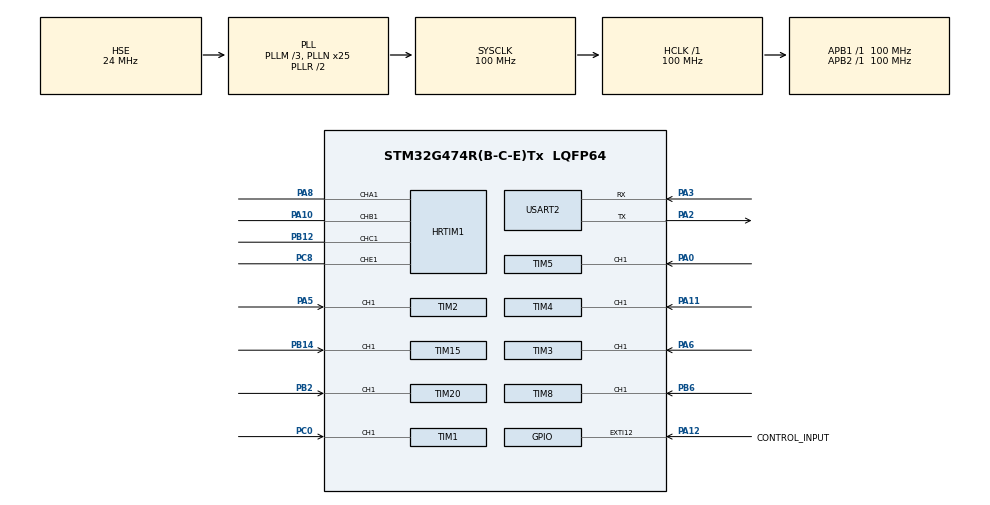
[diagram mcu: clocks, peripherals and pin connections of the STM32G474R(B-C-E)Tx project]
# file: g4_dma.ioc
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Dma.Request0=TIM1_CH1
Dma.Request1=TIM2_CH1
Dma.Request2=TIM3_CH1
Dma.Request3=TIM4_CH1
Dma.Request4=TIM5_CH1
Dma.Request5=TIM8_CH1
Dma.Request6=TIM15_CH1
Dma.Request7=TIM20_CH1
Dma.TIM15_CH1.6.Direction=DMA_PERIPH_TO_MEMORY
Dma.TIM15_CH1.6.EventEnable=DISABLE
Dma.TIM15_CH1.6.Instance=DMA2_Channel5
Dma.TIM15_CH1.6.MemDataAlignment=DMA_MDATAALIGN_WORD
Dma.TIM15_CH1.6.MemInc=DMA_MINC_ENABLE
Dma.TIM15_CH1.6.Mode=DMA_CIRCULAR
Dma.TIM15_CH1.6.PeriphDataAlignment=DMA_PDATAALIGN_HALFWORD
Dma.TIM15_CH1.6.PeriphInc=DMA_PINC_ENABLE
Dma.TIM15_CH1.6.Polarity=HAL_DMAMUX_REQ_GEN_RISING
Dma.TIM15_CH1.6.Priority=DMA_PRIORITY_HIGH
Dma.TIM15_CH1.6.RequestNumber=1
Dma.TIM15_CH1.6.SignalID=NONE
Dma.TIM15_CH1.6.SyncEnable=DISABLE
Dma.TIM15_CH1.6.SyncPolarity=HAL_DMAMUX_SYNC_NO_EVENT
Dma.TIM15_CH1.6.SyncRequestNumber=1
Dma.TIM15_CH1.6.SyncSignalID=NONE
Dma.TIM1_CH1.0.Direction=DMA_PERIPH_TO_MEMORY
Dma.TIM1_CH1.0.EventEnable=DISABLE
Dma.TIM1_CH1.0.Instance=DMA1_Channel1
Dma.TIM1_CH1.0.MemDataAlignment=DMA_MDATAALIGN_WORD
Dma.TIM1_CH1.0.MemInc=DMA_MINC_ENABLE
Dma.TIM1_CH1.0.Mode=DMA_CIRCULAR
Dma.TIM1_CH1.0.PeriphDataAlignment=DMA_PDATAALIGN_HALFWORD
Dma.TIM1_CH1.0.PeriphInc=DMA_PINC_ENABLE
Dma.TIM1_CH1.0.Polarity=HAL_DMAMUX_REQ_GEN_RISING
Dma.TIM1_CH1.0.Priority=DMA_PRIORITY_HIGH
Dma.TIM1_CH1.0.RequestNumber=1
Dma.TIM1_CH1.0.SignalID=NONE
Dma.TIM1_CH1.0.SyncEnable=DISABLE
Dma.TIM1_CH1.0.SyncPolarity=HAL_DMAMUX_SYNC_NO_EVENT
Dma.TIM1_CH1.0.SyncRequestNumber=1
Dma.TIM1_CH1.0.SyncSignalID=NONE
Dma.TIM20_CH1.7.Direction=DMA_PERIPH_TO_MEMORY
Dma.TIM20_CH1.7.EventEnable=DISABLE
Dma.TIM20_CH1.7.Instance=DMA2_Channel6
Dma.TIM20_CH1.7.MemDataAlignment=DMA_MDATAALIGN_WORD
Dma.TIM20_CH1.7.MemInc=DMA_MINC_ENABLE
Dma.TIM20_CH1.7.Mode=DMA_CIRCULAR
Dma.TIM20_CH1.7.PeriphDataAlignment=DMA_PDATAALIGN_HALFWORD
Dma.TIM20_CH1.7.PeriphInc=DMA_PINC_ENABLE
Dma.TIM20_CH1.7.Polarity=HAL_DMAMUX_REQ_GEN_RISING
Dma.TIM20_CH1.7.Priority=DMA_PRIORITY_HIGH
Dma.TIM20_CH1.7.RequestNumber=1
Dma.TIM20_CH1.7.SignalID=NONE
Dma.TIM20_CH1.7.SyncEnable=DISABLE
Dma.TIM20_CH1.7.SyncPolarity=HAL_DMAMUX_SYNC_NO_EVENT
Dma.TIM20_CH1.7.SyncRequestNumber=1
Dma.TIM20_CH1.7.SyncSignalID=NONE
Dma.TIM2_CH1.1.Direction=DMA_PERIPH_TO_MEMORY
Dma.TIM2_CH1.1.EventEnable=DISABLE
Dma.TIM2_CH1.1.Instance=DMA1_Channel2
Dma.TIM2_CH1.1.MemDataAlignment=DMA_MDATAALIGN_WORD
Dma.TIM2_CH1.1.MemInc=DMA_MINC_ENABLE
Dma.TIM2_CH1.1.Mode=DMA_CIRCULAR
Dma.TIM2_CH1.1.PeriphDataAlignment=DMA_PDATAALIGN_HALFWORD
Dma.TIM2_CH1.1.PeriphInc=DMA_PINC_ENABLE
Dma.TIM2_CH1.1.Polarity=HAL_DMAMUX_REQ_GEN_RISING
Dma.TIM2_CH1.1.Priority=DMA_PRIORITY_HIGH
Dma.TIM2_CH1.1.RequestNumber=1
Dma.TIM2_CH1.1.SignalID=NONE
Dma.TIM2_CH1.1.SyncEnable=DISABLE
Dma.TIM2_CH1.1.SyncPolarity=HAL_DMAMUX_SYNC_NO_EVENT
Dma.TIM2_CH1.1.SyncRequestNumber=1
Dma.TIM2_CH1.1.SyncSignalID=NONE
Dma.TIM3_CH1.2.Direction=DMA_PERIPH_TO_MEMORY
Dma.TIM3_CH1.2.EventEnable=DISABLE
Dma.TIM3_CH1.2.Instance=DMA1_Channel3
Dma.TIM3_CH1.2.MemDataAlignment=DMA_MDATAALIGN_WORD
Dma.TIM3_CH1.2.MemInc=DMA_MINC_ENABLE
Dma.TIM3_CH1.2.Mode=DMA_CIRCULAR
Dma.TIM3_CH1.2.PeriphDataAlignment=DMA_PDATAALIGN_HALFWORD
Dma.TIM3_CH1.2.PeriphInc=DMA_PINC_ENABLE
Dma.TIM3_CH1.2.Polarity=HAL_DMAMUX_REQ_GEN_RISING
Dma.TIM3_CH1.2.Priority=DMA_PRIORITY_HIGH
Dma.TIM3_CH1.2.RequestNumber=1
Dma.TIM3_CH1.2.SignalID=NONE
Dma.TIM3_CH1.2.SyncEnable=DISABLE
Dma.TIM3_CH1.2.SyncPolarity=HAL_DMAMUX_SYNC_NO_EVENT
Dma.TIM3_CH1.2.SyncRequestNumber=1
Dma.TIM3_CH1.2.SyncSignalID=NONE
Dma.TIM4_CH1.3.Direction=DMA_PERIPH_TO_MEMORY
Dma.TIM4_CH1.3.EventEnable=DISABLE
Dma.TIM4_CH1.3.Instance=DMA1_Channel4
Dma.TIM4_CH1.3.MemDataAlignment=DMA_MDATAALIGN_WORD
Dma.TIM4_CH1.3.MemInc=DMA_MINC_ENABLE
Dma.TIM4_CH1.3.Mode=DMA_CIRCULAR
Dma.TIM4_CH1.3.PeriphDataAlignment=DMA_PDATAALIGN_HALFWORD
Dma.TIM4_CH1.3.PeriphInc=DMA_PINC_ENABLE
Dma.TIM4_CH1.3.Polarity=HAL_DMAMUX_REQ_GEN_RISING
Dma.TIM4_CH1.3.Priority=DMA_PRIORITY_HIGH
Dma.TIM4_CH1.3.RequestNumber=1
Dma.TIM4_CH1.3.SignalID=NONE
Dma.TIM4_CH1.3.SyncEnable=DISABLE
Dma.TIM4_CH1.3.SyncPolarity=HAL_DMAMUX_SYNC_NO_EVENT
Dma.TIM4_CH1.3.SyncRequestNumber=1
Dma.TIM4_CH1.3.SyncSignalID=NONE
Dma.TIM5_CH1.4.Direction=DMA_PERIPH_TO_MEMORY
Dma.TIM5_CH1.4.EventEnable=DISABLE
Dma.TIM5_CH1.4.Instance=DMA2_Channel1
Dma.TIM5_CH1.4.MemDataAlignment=DMA_MDATAALIGN_WORD
Dma.TIM5_CH1.4.MemInc=DMA_MINC_ENABLE
Dma.TIM5_CH1.4.Mode=DMA_CIRCULAR
Dma.TIM5_CH1.4.PeriphDataAlignment=DMA_PDATAALIGN_HALFWORD
Dma.TIM5_CH1.4.PeriphInc=DMA_PINC_ENABLE
Dma.TIM5_CH1.4.Polarity=HAL_DMAMUX_REQ_GEN_RISING
Dma.TIM5_CH1.4.Priority=DMA_PRIORITY_HIGH
Dma.TIM5_CH1.4.RequestNumber=1
Dma.TIM5_CH1.4.SignalID=NONE
Dma.TIM5_CH1.4.SyncEnable=DISABLE
Dma.TIM5_CH1.4.SyncPolarity=HAL_DMAMUX_SYNC_NO_EVENT
Dma.TIM5_CH1.4.SyncRequestNumber=1
Dma.TIM5_CH1.4.SyncSignalID=NONE
Dma.TIM8_CH1.5.Direction=DMA_PERIPH_TO_MEMORY
Dma.TIM8_CH1.5.EventEnable=DISABLE
Dma.TIM8_CH1.5.Instance=DMA2_Channel2
Dma.TIM8_CH1.5.MemDataAlignment=DMA_MDATAALIGN_WORD
Dma.TIM8_CH1.5.MemInc=DMA_MINC_ENABLE
Dma.TIM8_CH1.5.Mode=DMA_CIRCULAR
Dma.TIM8_CH1.5.PeriphDataAlignment=DMA_PDATAALIGN_HALFWORD
Dma.TIM8_CH1.5.PeriphInc=DMA_PINC_ENABLE
Dma.TIM8_CH1.5.Polarity=HAL_DMAMUX_REQ_GEN_RISING
Dma.TIM8_CH1.5.Priority=DMA_PRIORITY_HIGH
Dma.TIM8_CH1.5.RequestNumber=1
Dma.TIM8_CH1.5.SignalID=NONE
Dma.TIM8_CH1.5.SyncEnable=DISABLE
Dma.TIM8_CH1.5.SyncPolarity=HAL_DMAMUX_SYNC_NO_EVENT
Dma.TIM8_CH1.5.SyncRequestNumber=1
Dma.TIM8_CH1.5.SyncSignalID=NONE
HRTIM1.BurstDMAconfig-Output_TA1=__NULL
HRTIM1.BurstMode-Output_TA1=HRTIM_TIMERBURSTMODE_MAINTAINCLOCK
HRTIM1.CompareUnit1-Output_TA1=HRTIM_COMPAREUNIT_1
HRTIM1.CompareUnit1-Output_TB1=HRTIM_COMPAREUNIT_1
HRTIM1.CompareUnit1-Output_TC1=HRTIM_COMPAREUNIT_1
HRTIM1.CompareUnit1-Output_TE1=HRTIM_COMPAREUNIT_1
HRTIM1.CompareValue1-Output_TE1=0xFFDF
HRTIM1.Enable=HRTIM_BURSTMODECTL_DISABLED
HRTIM1.Event_EEV1=__NULL
HRTIM1.NumberDMARequests_TA=0
HRTIM1.NumberDMARequests_TB=0
HRTIM1.NumberDMARequests_TC=0
HRTIM1.NumberInterruptRequests-Output_TA1=0
HRTIM1.NumberResetSource1-Output_TA1=1
HRTIM1.NumberResetSource1-Output_TB1=1
HRTIM1.NumberResetSource1-Output_TC1=1
HRTIM1.NumberResetSource1-Output_TE1=1
HRTIM1.NumberResetTrigger-Output_TA1=0
HRTIM1.NumberSetSource1-Output_TA1=1
HRTIM1.NumberSetSource1-Output_TB1=1
HRTIM1.NumberSetSource1-Output_TC1=1
HRTIM1.NumberSetSource1-Output_TE1=1
HRTIM1.NumberUpdateTrigger-Output_TA1=1
HRTIM1.NumberUpdateTrigger-Output_TB1=1
HRTIM1.NumberUpdateTrigger-Output_TC1=1
HRTIM1.NumberUpdateTrigger-Output_TE1=1
HRTIM1.PreloadEnable-Output_TA1=HRTIM_PRELOAD_ENABLED
HRTIM1.PreloadEnable-Output_TB1=HRTIM_PRELOAD_ENABLED
HRTIM1.PreloadEnable-Output_TC1=HRTIM_PRELOAD_ENABLED
HRTIM1.PreloadEnable-Output_TE1=HRTIM_PRELOAD_ENABLED
HRTIM1.PrescalerRatio_TA=HRTIM_PRESCALERRATIO_DIV1
HRTIM1.PrescalerRatio_TB=HRTIM_PRESCALERRATIO_DIV1
HRTIM1.PrescalerRatio_TC=HRTIM_PRESCALERRATIO_DIV1
HRTIM1.PrescalerRatio_TE=HRTIM_PRESCALERRATIO_DIV1
HRTIM1.ReSyncUpdate-Output_TA1=HRTIM_TIMERESYNC_UPDATE_CONDITIONAL
HRTIM1.ReSyncUpdate-Output_TB1=HRTIM_TIMERESYNC_UPDATE_CONDITIONAL
HRTIM1.ReSyncUpdate-Output_TC1=HRTIM_TIMERESYNC_UPDATE_CONDITIONAL
HRTIM1.ReSyncUpdate-Output_TE1=HRTIM_TIMERESYNC_UPDATE_CONDITIONAL
HRTIM1.RepetitionUpdate-Output_TA1=HRTIM_UPDATEONREPETITION_ENABLED
HRTIM1.RepetitionUpdate-Output_TB1=HRTIM_UPDATEONREPETITION_ENABLED
HRTIM1.RepetitionUpdate-Output_TC1=HRTIM_UPDATEONREPETITION_ENABLED
HRTIM1.RepetitionUpdate-Output_TE1=HRTIM_UPDATEONREPETITION_ENABLED
HRTIM1.ResetOutput1_Source1-Output_TA1=HRTIM_OUTPUTRESET_TIMCMP1
HRTIM1.ResetOutput1_Source1-Output_TB1=HRTIM_OUTPUTRESET_TIMCMP1
HRTIM1.ResetOutput1_Source1-Output_TC1=HRTIM_OUTPUTRESET_TIMCMP1
HRTIM1.ResetOutput1_Source1-Output_TE1=HRTIM_OUTPUTRESET_TIMCMP1
HRTIM1.ResetUpdate-Output_TA1=HRTIM_TIMUPDATEONRESET_ENABLED
HRTIM1.ResetUpdate-Output_TB1=HRTIM_TIMUPDATEONRESET_ENABLED
HRTIM1.ResetUpdate-Output_TC1=HRTIM_TIMUPDATEONRESET_ENABLED
HRTIM1.ResetUpdate-Output_TE1=HRTIM_TIMUPDATEONRESET_ENABLED
HRTIM1.SetOutput1_Source1-Output_TA1=HRTIM_OUTPUTSET_TIMPER
HRTIM1.SetOutput1_Source1-Output_TB1=HRTIM_OUTPUTSET_TIMPER
HRTIM1.SetOutput1_Source1-Output_TC1=HRTIM_OUTPUTSET_TIMPER
HRTIM1.SetOutput1_Source1-Output_TE1=HRTIM_OUTPUTSET_TIMPER
HRTIM1.UpdateGating-Output_TA1=HRTIM_UPDATEGATING_INDEPENDENT
HRTIM1.UpdateGating-Output_TB1=HRTIM_UPDATEGATING_INDEPENDENT
HRTIM1.UpdateGating-Output_TC1=HRTIM_UPDATEGATING_INDEPENDENT
HRTIM1.UpdateGating-Output_TE1=HRTIM_UPDATEGATING_INDEPENDENT
HRTIM1.UpdateTrigger1-Output_TA1=HRTIM_TIMUPDATETRIGGER_TIMER_A
HRTIM1.UpdateTrigger1-Output_TB1=HRTIM_TIMUPDATETRIGGER_NONE
HRTIM1.UpdateTrigger1-Output_TC1=HRTIM_TIMUPDATETRIGGER_NONE
HRTIM1.UpdateTrigger1-Output_TE1=HRTIM_TIMUPDATETRIGGER_NONE
Mcu.Family=STM32G4
Mcu.Name=STM32G474R(B-C-E)Tx
Mcu.Package=LQFP64
NVIC.DMA1_Channel1_IRQn=true\:0\:0\:false\:false\:true\:false\:true\:true
NVIC.DMA1_Channel2_IRQn=true\:0\:0\:false\:false\:true\:false\:true\:true
NVIC.DMA1_Channel3_IRQn=true\:0\:0\:false\:false\:true\:false\:true\:true
NVIC.DMA1_Channel4_IRQn=true\:0\:0\:false\:false\:true\:false\:true\:true
NVIC.DMA2_Channel1_IRQn=true\:0\:0\:false\:false\:true\:false\:true\:true
NVIC.DMA2_Channel2_IRQn=true\:0\:0\:false\:false\:true\:false\:true\:true
NVIC.DMA2_Channel5_IRQn=true\:0\:0\:false\:false\:true\:false\:true\:true
NVIC.DMA2_Channel6_IRQn=true\:0\:0\:false\:false\:true\:false\:true\:true
NVIC.PriorityGroup=NVIC_PRIORITYGROUP_4
NVIC.TIM1_BRK_TIM15_IRQn=true\:0\:0\:false\:false\:true\:true\:true\:true
NVIC.TIM20_BRK_IRQn=true\:0\:0\:false\:false\:true\:true\:true\:true
NVIC.TIM2_IRQn=true\:0\:0\:false\:false\:true\:true\:true\:true
NVIC.TIM3_IRQn=true\:0\:0\:false\:false\:true\:true\:true\:true
NVIC.TIM4_IRQn=true\:0\:0\:false\:false\:true\:true\:true\:true
NVIC.TIM5_IRQn=true\:0\:0\:false\:false\:true\:true\:true\:true
NVIC.TIM8_BRK_IRQn=true\:0\:0\:false\:false\:true\:true\:true\:true
NVIC.USART2_IRQn=true\:0\:0\:false\:false\:true\:true\:true\:true
PA0.Signal=S_TIM5_CH1
PA10.Mode=Output_TB1
PA10.Signal=HRTIM1_CHB1
PA11.Signal=S_TIM4_CH1
PA12.GPIO_Label=CONTROL_INPUT
PA12.Signal=GPXTI12
PA2.Mode=Asynchronous
PA2.Signal=USART2_TX
PA3.Mode=Asynchronous
PA3.Signal=USART2_RX
PA5.Signal=S_TIM2_CH1
PA6.Signal=S_TIM3_CH1
PA8.Mode=Output_TA1
PA8.Signal=HRTIM1_CHA1
PB12.Mode=Output_TC1
PB12.Signal=HRTIM1_CHC1
PB14.Signal=S_TIM15_CH1
PB2.Signal=S_TIM20_CH1
PB6.Signal=S_TIM8_CH1
PC0.Signal=S_TIM1_CH1
PC8.Mode=Output_TE1
PC8.Signal=HRTIM1_CHE1
PF0-OSC_IN.Mode=HSE-External-Oscillator
PF0-OSC_IN.Signal=RCC_OSC_IN
PF1-OSC_OUT.Mode=HSE-External-Oscillator
PF1-OSC_OUT.Signal=RCC_OSC_OUT
ProjectManager.HeapSize=0x200
ProjectManager.StackSize=0x400
ProjectManager.TargetToolchain=STM32CubeIDE
RCC.ADC12Freq_Value=100000000
RCC.ADC345Freq_Value=100000000
RCC.AHBFreq_Value=100000000
RCC.APB1Freq_Value=100000000
RCC.APB1TimFreq_Value=100000000
RCC.APB2Freq_Value=100000000
RCC.APB2TimFreq_Value=100000000
RCC.CortexFreq_Value=100000000
RCC.EXTERNAL_CLOCK_VALUE=12288000
RCC.HCLKFreq_Value=100000000
RCC.HSE_VALUE=24000000
RCC.HSI48_VALUE=48000000
RCC.HSI_VALUE=16000000
RCC.LSE_VALUE=32768
RCC.PLLM=RCC_PLLM_DIV3
RCC.PLLN=25
RCC.PLLSourceVirtual=RCC_PLLSOURCE_HSE
RCC.RTCClockSelection=RCC_RTCCLKSOURCE_LSE
RCC.SYSCLKFreq_VALUE=100000000
RCC.SYSCLKSource=RCC_SYSCLKSOURCE_PLLCLK
RCC.USBFreq_Value=100000000
RCC.VCOOutputFreq_Value=200000000
SH.S_TIM15_CH1.0=TIM15_CH1,PWM_Input_1
SH.S_TIM1_CH1.0=TIM1_CH1,PWM_Input_1
SH.S_TIM20_CH1.0=TIM20_CH1,PWM_Input_1
SH.S_TIM2_CH1.0=TIM2_CH1,PWM_Input_1
SH.S_TIM3_CH1.0=TIM3_CH1,PWM_Input_1
SH.S_TIM4_CH1.0=TIM4_CH1,PWM_Input_1
SH.S_TIM5_CH1.0=TIM5_CH1,PWM_Input_1
SH.S_TIM8_CH1.0=TIM8_CH1,PWM_Input_1
TIM1.AutoReloadPreload=TIM_AUTORELOAD_PRELOAD_ENABLE
TIM1.Prescaler=0
TIM1.TIM_MasterOutputTrigger=TIM_TRGO_RESET
TIM1.TIM_MasterOutputTrigger2=TIM_TRGO2_RESET
TIM1.TIM_MasterSlaveMode=TIM_MASTERSLAVEMODE_DISABLE
TIM15.AutoReloadPreload=TIM_AUTORELOAD_PRELOAD_ENABLE
TIM15.Prescaler=0
TIM2.AutoReloadPreload=TIM_AUTORELOAD_PRELOAD_ENABLE
TIM2.ICFilter_1=0
TIM2.ICFilter_2=0
TIM2.Prescaler=0
TIM20.AutoReloadPreload=TIM_AUTORELOAD_PRELOAD_ENABLE
TIM20.Prescaler=0
TIM3.AutoReloadPreload=TIM_AUTORELOAD_PRELOAD_ENABLE
TIM3.Prescaler=0
TIM4.AutoReloadPreload=TIM_AUTORELOAD_PRELOAD_ENABLE
TIM4.Prescaler=0
TIM5.AutoReloadPreload=TIM_AUTORELOAD_PRELOAD_ENABLE
TIM5.Prescaler=0
TIM8.AutoReloadPreload=TIM_AUTORELOAD_PRELOAD_ENABLE
TIM8.Prescaler=0
USART2.FIFOMode=FIFOMODE_ENABLE
USART2.Parity=PARITY_NONE
USART2.VirtualMode-Asynchronous=VM_ASYNC
USART2.WordLength=WORDLENGTH_8B
VP_SYS_VS_DBSignals.Mode=DisableDeadBatterySignals
VP_TIM15_VS_ClockSourceINT.Mode=Internal
VP_TIM1_VS_ClockSourceINT.Mode=Internal
VP_TIM20_VS_ClockSourceINT.Mode=Internal
VP_TIM2_VS_ClockSourceINT.Mode=Internal
VP_TIM3_VS_ClockSourceINT.Mode=Internal
VP_TIM4_VS_ClockSourceINT.Mode=Internal
VP_TIM5_VS_ClockSourceINT.Mode=Internal
VP_TIM8_VS_ClockSourceINT.Mode=Internal
board=NUCLEO-G474RE

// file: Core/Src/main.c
/* USER CODE BEGIN Header */
/**
  ******************************************************************************
  * @file           : main.c
  * @brief          : Main program body
  ******************************************************************************
  * @attention
  *
  * Copyright (c) 2025 STMicroelectronics.
  * All rights reserved.
  *
  * This software is licensed under terms that can be found in the LICENSE file
  * in the root directory of this software component.
  * If no LICENSE file comes with this software, it is provided AS-IS.
  *
  ******************************************************************************
  */
/* USER CODE END Header */
#include "main.h"

/* USER CODE BEGIN PD */

#define HRTIMA_PER_ADDR (&HRTIM1->sTimerxRegs[HRTIM_TIMERINDEX_TIMER_A].PERxR)
#define HRTIMA_CMP1_ADDR (&HRTIM1->sTimerxRegs[HRTIM_TIMERINDEX_TIMER_A].CMP1xR)

#define HRTIMB_PER_ADDR (&HRTIM1->sTimerxRegs[HRTIM_TIMERINDEX_TIMER_B].PERxR)
#define HRTIMB_CMP1_ADDR (&HRTIM1->sTimerxRegs[HRTIM_TIMERINDEX_TIMER_B].CMP1xR)

#define HRTIMC_PER_ADDR (&HRTIM1->sTimerxRegs[HRTIM_TIMERINDEX_TIMER_C].PERxR)
#define HRTIMC_CMP1_ADDR (&HRTIM1->sTimerxRegs[HRTIM_TIMERINDEX_TIMER_C].CMP1xR)

#define HRTIME_PER_ADDR (&HRTIM1->sTimerxRegs[HRTIM_TIMERINDEX_TIMER_E].PERxR)
#define HRTIME_CMP1_ADDR (&HRTIM1->sTimerxRegs[HRTIM_TIMERINDEX_TIMER_E].CMP1xR)
/* USER CODE END PD */

HRTIM_HandleTypeDef hhrtim1;

TIM_HandleTypeDef htim1;
TIM_HandleTypeDef htim2;
TIM_HandleTypeDef htim3;
TIM_HandleTypeDef htim4;
TIM_HandleTypeDef htim5;
TIM_HandleTypeDef htim8;
TIM_HandleTypeDef htim15;
TIM_HandleTypeDef htim20;
DMA_HandleTypeDef hdma_tim1_ch1;
DMA_HandleTypeDef hdma_tim2_ch1;
DMA_HandleTypeDef hdma_tim3_ch1;
DMA_HandleTypeDef hdma_tim4_ch1;
DMA_HandleTypeDef hdma_tim5_ch1;
DMA_HandleTypeDef hdma_tim8_ch1;
DMA_HandleTypeDef hdma_tim15_ch1;
DMA_HandleTypeDef hdma_tim20_ch1;

UART_HandleTypeDef huart2;

void SystemClock_Config(void);
static void MX_GPIO_Init(void);
static void MX_DMA_Init(void);
static void MX_TIM1_Init(void);
static void MX_TIM2_Init(void);
static void MX_TIM3_Init(void);
static void MX_TIM4_Init(void);
static void MX_TIM5_Init(void);
static void MX_TIM8_Init(void);
static void MX_TIM15_Init(void);
static void MX_TIM20_Init(void);
static void MX_USART2_UART_Init(void);
static void MX_HRTIM1_Init(void);

/* USER CODE BEGIN 0 */

uint8_t control_var = 0;
void HAL_GPIO_EXTI_Callback(uint16_t GPIO_Pin)
{
	if(GPIO_Pin == CONTROL_INPUT_Pin)
	{
		if (control_var)
		{
			HAL_TIM_IC_Stop_DMA(&htim2, TIM_CHANNEL_1);
			HAL_TIM_IC_Stop(&htim2, TIM_CHANNEL_2);

			HAL_TIM_IC_Stop_DMA(&htim4, TIM_CHANNEL_1);
			HAL_TIM_IC_Stop(&htim4, TIM_CHANNEL_2);

			HAL_TIM_IC_Stop_DMA(&htim8, TIM_CHANNEL_1);
			HAL_TIM_IC_Stop(&htim8, TIM_CHANNEL_2);

			HAL_TIM_IC_Stop_DMA(&htim20, TIM_CHANNEL_1);
			HAL_TIM_IC_Stop(&htim20, TIM_CHANNEL_2);

			HAL_TIM_IC_Start_DMA(&htim1, TIM_CHANNEL_1, &HRTIM1->sTimerxRegs[HRTIM_TIMERINDEX_TIMER_A].PERxR, 3);
			HAL_TIM_IC_Start(&htim1, TIM_CHANNEL_2);

			HAL_TIM_IC_Start_DMA(&htim3, TIM_CHANNEL_1, &HRTIM1->sTimerxRegs[HRTIM_TIMERINDEX_TIMER_B].PERxR, 3);
			HAL_TIM_IC_Start(&htim3, TIM_CHANNEL_2);

			HAL_TIM_IC_Start_DMA(&htim5, TIM_CHANNEL_1, &HRTIM1->sTimerxRegs[HRTIM_TIMERINDEX_TIMER_C].PERxR, 3);
			HAL_TIM_IC_Start(&htim5, TIM_CHANNEL_2);

			HAL_TIM_IC_Start_DMA(&htim15, TIM_CHANNEL_1, &HRTIM1->sTimerxRegs[HRTIM_TIMERINDEX_TIMER_D].PERxR, 3);
			HAL_TIM_IC_Start(&htim15, TIM_CHANNEL_2);
		}
		else
		{
			HAL_TIM_IC_Stop_DMA(&htim1, TIM_CHANNEL_1);
			HAL_TIM_IC_Stop(&htim1, TIM_CHANNEL_2);

			HAL_TIM_IC_Stop_DMA(&htim3, TIM_CHANNEL_1);
			HAL_TIM_IC_Stop(&htim3, TIM_CHANNEL_2);

			HAL_TIM_IC_Stop_DMA(&htim5, TIM_CHANNEL_1);
			HAL_TIM_IC_Stop(&htim5, TIM_CHANNEL_2);

			HAL_TIM_IC_Stop_DMA(&htim15, TIM_CHANNEL_1);
			HAL_TIM_IC_Stop(&htim15, TIM_CHANNEL_2);

			HAL_TIM_IC_Start_DMA(&htim2, TIM_CHANNEL_1, &HRTIM1->sTimerxRegs[HRTIM_TIMERINDEX_TIMER_A].PERxR, 3);
			HAL_TIM_IC_Start(&htim2, TIM_CHANNEL_2);

			HAL_TIM_IC_Start_DMA(&htim4, TIM_CHANNEL_1, &HRTIM1->sTimerxRegs[HRTIM_TIMERINDEX_TIMER_B].PERxR, 3);
			HAL_TIM_IC_Start(&htim4, TIM_CHANNEL_2);

			HAL_TIM_IC_Start_DMA(&htim8, TIM_CHANNEL_1, &HRTIM1->sTimerxRegs[HRTIM_TIMERINDEX_TIMER_C].PERxR, 3);
			HAL_TIM_IC_Start(&htim8, TIM_CHANNEL_2);

			HAL_TIM_IC_Start_DMA(&htim20, TIM_CHANNEL_1, &HRTIM1->sTimerxRegs[HRTIM_TIMERINDEX_TIMER_D].PERxR, 3);
			HAL_TIM_IC_Start(&htim20, TIM_CHANNEL_2);
		}
	}
	control_var ^= 1;
}

/* USER CODE END 0 */

int main(void)
{

  /* MCU Configuration--------------------------------------------------------*/

  /* Reset of all peripherals, Initializes the Flash interface and the Systick. */
  HAL_Init();

  /* Configure the system clock */
  SystemClock_Config();

  /* Initialize all configured peripherals */
  MX_GPIO_Init();
  MX_DMA_Init();
  MX_TIM1_Init();
  MX_TIM2_Init();
  MX_TIM3_Init();
  MX_TIM4_Init();
  MX_TIM5_Init();
  MX_TIM8_Init();
  MX_TIM15_Init();
  MX_TIM20_Init();
  MX_USART2_UART_Init();
  MX_HRTIM1_Init();
  /* USER CODE BEGIN 2 */

//	Test 3: Input/Output only using DMA.
	HAL_TIM_IC_Start_DMA(&htim1, TIM_CHANNEL_1, HRTIMA_PER_ADDR, 3);
	HAL_TIM_IC_Start(&htim1, TIM_CHANNEL_2);

	HAL_TIM_IC_Start_DMA(&htim3, TIM_CHANNEL_1, HRTIMB_PER_ADDR, 3);
	HAL_TIM_IC_Start(&htim3, TIM_CHANNEL_2);

	HAL_TIM_IC_Start_DMA(&htim5, TIM_CHANNEL_1, HRTIMC_PER_ADDR, 3);
	HAL_TIM_IC_Start(&htim5, TIM_CHANNEL_2);

	HAL_TIM_IC_Start_DMA(&htim15, TIM_CHANNEL_1, HRTIME_PER_ADDR, 3);
	HAL_TIM_IC_Start(&htim15, TIM_CHANNEL_2);

//	HAL_TIM_IC_Start_DMA(&htim2, TIM_CHANNEL_1, HRTIMA_PER_ADDR, 3);
//	HAL_TIM_IC_Start(&htim2, TIM_CHANNEL_2);
//
//	HAL_TIM_IC_Start_DMA(&htim4, TIM_CHANNEL_1, HRTIMB_PER_ADDR, 3);
//	HAL_TIM_IC_Start(&htim4, TIM_CHANNEL_2);
//
//	HAL_TIM_IC_Start_DMA(&htim8, TIM_CHANNEL_1, HRTIMC_PER_ADDR, 3);
//	HAL_TIM_IC_Start(&htim8, TIM_CHANNEL_2);
//
//	HAL_TIM_IC_Start_DMA(&htim20, TIM_CHANNEL_1, HRTIME_PER_ADDR, 3);
//	HAL_TIM_IC_Start(&htim20, TIM_CHANNEL_2);

	HAL_HRTIM_WaveformOutputStart(&hhrtim1, HRTIM_OUTPUT_TA1);
	HAL_HRTIM_WaveformCounterStart(&hhrtim1, HRTIM_TIMERID_TIMER_A);

	HAL_HRTIM_WaveformOutputStart(&hhrtim1, HRTIM_OUTPUT_TB1);
	HAL_HRTIM_WaveformCounterStart(&hhrtim1, HRTIM_TIMERID_TIMER_B);

	HAL_HRTIM_WaveformOutputStart(&hhrtim1, HRTIM_OUTPUT_TC1);
	HAL_HRTIM_WaveformCounterStart(&hhrtim1, HRTIM_TIMERID_TIMER_C);

	HAL_HRTIM_WaveformOutputStart(&hhrtim1, HRTIM_OUTPUT_TE1);
	HAL_HRTIM_WaveformCounterStart(&hhrtim1, HRTIM_TIMERID_TIMER_E);

  /* USER CODE END 2 */

  /* Infinite loop */
  while (1)
  {
  }

}

void SystemClock_Config(void)
{
  RCC_OscInitTypeDef RCC_OscInitStruct = {0};
  RCC_ClkInitTypeDef RCC_ClkInitStruct = {0};

  /** Configure the main internal regulator output voltage
  */
  HAL_PWREx_ControlVoltageScaling(PWR_REGULATOR_VOLTAGE_SCALE1);

  /** Initializes the RCC Oscillators according to the specified parameters
  * in the RCC_OscInitTypeDef structure.
  */
  RCC_OscInitStruct.OscillatorType = RCC_OSCILLATORTYPE_HSE;
  RCC_OscInitStruct.HSEState = RCC_HSE_ON;
  RCC_OscInitStruct.PLL.PLLState = RCC_PLL_ON;
  RCC_OscInitStruct.PLL.PLLSource = RCC_PLLSOURCE_HSE;
  RCC_OscInitStruct.PLL.PLLM = RCC_PLLM_DIV3;
  RCC_OscInitStruct.PLL.PLLN = 25;
  RCC_OscInitStruct.PLL.PLLP = RCC_PLLP_DIV2;
  RCC_OscInitStruct.PLL.PLLQ = RCC_PLLQ_DIV2;
  RCC_OscInitStruct.PLL.PLLR = RCC_PLLR_DIV2;
  if (HAL_RCC_OscConfig(&RCC_OscInitStruct) != HAL_OK)
  {
    Error_Handler();
  }

  /** Initializes the CPU, AHB and APB buses clocks
  */
  RCC_ClkInitStruct.ClockType = RCC_CLOCKTYPE_HCLK|RCC_CLOCKTYPE_SYSCLK
                              |RCC_CLOCKTYPE_PCLK1|RCC_CLOCKTYPE_PCLK2;
  RCC_ClkInitStruct.SYSCLKSource = RCC_SYSCLKSOURCE_PLLCLK;
  RCC_ClkInitStruct.AHBCLKDivider = RCC_SYSCLK_DIV1;
  RCC_ClkInitStruct.APB1CLKDivider = RCC_HCLK_DIV1;
  RCC_ClkInitStruct.APB2CLKDivider = RCC_HCLK_DIV1;

  if (HAL_RCC_ClockConfig(&RCC_ClkInitStruct, FLASH_LATENCY_3) != HAL_OK)
  {
    Error_Handler();
  }
}

static void MX_HRTIM1_Init(void)
{

  HRTIM_TimeBaseCfgTypeDef pTimeBaseCfg = {0};
  HRTIM_TimerCtlTypeDef pTimerCtl = {0};
  HRTIM_TimerCfgTypeDef pTimerCfg = {0};
  HRTIM_CompareCfgTypeDef pCompareCfg = {0};
  HRTIM_OutputCfgTypeDef pOutputCfg = {0};

  hhrtim1.Instance = HRTIM1;
  hhrtim1.Init.HRTIMInterruptResquests = HRTIM_IT_NONE;
  hhrtim1.Init.SyncOptions = HRTIM_SYNCOPTION_NONE;
  if (HAL_HRTIM_Init(&hhrtim1) != HAL_OK)
  {
    Error_Handler();
  }
  if (HAL_HRTIM_DLLCalibrationStart(&hhrtim1, HRTIM_CALIBRATIONRATE_3) != HAL_OK)
  {
    Error_Handler();
  }
  if (HAL_HRTIM_PollForDLLCalibration(&hhrtim1, 10) != HAL_OK)
  {
    Error_Handler();
  }
  pTimeBaseCfg.Period = 0xFFFD;
  pTimeBaseCfg.RepetitionCounter = 0x00;
  pTimeBaseCfg.PrescalerRatio = HRTIM_PRESCALERRATIO_DIV1;
  pTimeBaseCfg.Mode = HRTIM_MODE_CONTINUOUS;
  if (HAL_HRTIM_TimeBaseConfig(&hhrtim1, HRTIM_TIMERINDEX_TIMER_A, &pTimeBaseCfg) != HAL_OK)
  {
    Error_Handler();
  }
  pTimerCtl.UpDownMode = HRTIM_TIMERUPDOWNMODE_UP;
  pTimerCtl.GreaterCMP1 = HRTIM_TIMERGTCMP1_EQUAL;
  pTimerCtl.DualChannelDacEnable = HRTIM_TIMER_DCDE_DISABLED;
  if (HAL_HRTIM_WaveformTimerControl(&hhrtim1, HRTIM_TIMERINDEX_TIMER_A, &pTimerCtl) != HAL_OK)
  {
    Error_Handler();
  }
  pTimerCfg.InterruptRequests = HRTIM_TIM_IT_NONE;
  pTimerCfg.DMARequests = HRTIM_TIM_DMA_NONE;
  pTimerCfg.DMASrcAddress = 0x0000;
  pTimerCfg.DMADstAddress = 0x0000;
  pTimerCfg.DMASize = 0x1;
  pTimerCfg.HalfModeEnable = HRTIM_HALFMODE_DISABLED;
  pTimerCfg.InterleavedMode = HRTIM_INTERLEAVED_MODE_DISABLED;
  pTimerCfg.StartOnSync = HRTIM_SYNCSTART_DISABLED;
  pTimerCfg.ResetOnSync = HRTIM_SYNCRESET_DISABLED;
  pTimerCfg.DACSynchro = HRTIM_DACSYNC_NONE;
  pTimerCfg.PreloadEnable = HRTIM_PRELOAD_ENABLED;
  pTimerCfg.UpdateGating = HRTIM_UPDATEGATING_INDEPENDENT;
  pTimerCfg.BurstMode = HRTIM_TIMERBURSTMODE_MAINTAINCLOCK;
  pTimerCfg.RepetitionUpdate = HRTIM_UPDATEONREPETITION_ENABLED;
  pTimerCfg.PushPull = HRTIM_TIMPUSHPULLMODE_DISABLED;
  pTimerCfg.FaultEnable = HRTIM_TIMFAULTENABLE_NONE;
  pTimerCfg.FaultLock = HRTIM_TIMFAULTLOCK_READWRITE;
  pTimerCfg.DeadTimeInsertion = HRTIM_TIMDEADTIMEINSERTION_DISABLED;
  pTimerCfg.DelayedProtectionMode = HRTIM_TIMER_A_B_C_DELAYEDPROTECTION_DISABLED;
  pTimerCfg.UpdateTrigger = HRTIM_TIMUPDATETRIGGER_TIMER_A;
  pTimerCfg.ResetTrigger = HRTIM_TIMRESETTRIGGER_NONE;
  pTimerCfg.ResetUpdate = HRTIM_TIMUPDATEONRESET_ENABLED;
  pTimerCfg.ReSyncUpdate = HRTIM_TIMERESYNC_UPDATE_CONDITIONAL;
  if (HAL_HRTIM_WaveformTimerConfig(&hhrtim1, HRTIM_TIMERINDEX_TIMER_A, &pTimerCfg) != HAL_OK)
  {
    Error_Handler();
  }
  pTimerCfg.UpdateTrigger = HRTIM_TIMUPDATETRIGGER_NONE;
  if (HAL_HRTIM_WaveformTimerConfig(&hhrtim1, HRTIM_TIMERINDEX_TIMER_B, &pTimerCfg) != HAL_OK)
  {
    Error_Handler();
  }
  if (HAL_HRTIM_WaveformTimerConfig(&hhrtim1, HRTIM_TIMERINDEX_TIMER_C, &pTimerCfg) != HAL_OK)
  {
    Error_Handler();
  }
  pTimerCfg.DelayedProtectionMode = HRTIM_TIMER_D_E_DELAYEDPROTECTION_DISABLED;
  if (HAL_HRTIM_WaveformTimerConfig(&hhrtim1, HRTIM_TIMERINDEX_TIMER_E, &pTimerCfg) != HAL_OK)
  {
    Error_Handler();
  }
  pCompareCfg.CompareValue = 0xFFFD;
  if (HAL_HRTIM_WaveformCompareConfig(&hhrtim1, HRTIM_TIMERINDEX_TIMER_A, HRTIM_COMPAREUNIT_1, &pCompareCfg) != HAL_OK)
  {
    Error_Handler();
  }
  pOutputCfg.Polarity = HRTIM_OUTPUTPOLARITY_HIGH;
  pOutputCfg.SetSource = HRTIM_OUTPUTSET_TIMPER;
  pOutputCfg.ResetSource = HRTIM_OUTPUTRESET_TIMCMP1;
  pOutputCfg.IdleMode = HRTIM_OUTPUTIDLEMODE_NONE;
  pOutputCfg.IdleLevel = HRTIM_OUTPUTIDLELEVEL_INACTIVE;
  pOutputCfg.FaultLevel = HRTIM_OUTPUTFAULTLEVEL_NONE;
  pOutputCfg.ChopperModeEnable = HRTIM_OUTPUTCHOPPERMODE_DISABLED;
  pOutputCfg.BurstModeEntryDelayed = HRTIM_OUTPUTBURSTMODEENTRY_REGULAR;
  if (HAL_HRTIM_WaveformOutputConfig(&hhrtim1, HRTIM_TIMERINDEX_TIMER_A, HRTIM_OUTPUT_TA1, &pOutputCfg) != HAL_OK)
  {
    Error_Handler();
  }
  if (HAL_HRTIM_WaveformOutputConfig(&hhrtim1, HRTIM_TIMERINDEX_TIMER_B, HRTIM_OUTPUT_TB1, &pOutputCfg) != HAL_OK)
  {
    Error_Handler();
  }
  if (HAL_HRTIM_WaveformOutputConfig(&hhrtim1, HRTIM_TIMERINDEX_TIMER_C, HRTIM_OUTPUT_TC1, &pOutputCfg) != HAL_OK)
  {
    Error_Handler();
  }
  if (HAL_HRTIM_WaveformOutputConfig(&hhrtim1, HRTIM_TIMERINDEX_TIMER_E, HRTIM_OUTPUT_TE1, &pOutputCfg) != HAL_OK)
  {
    Error_Handler();
  }
  if (HAL_HRTIM_TimeBaseConfig(&hhrtim1, HRTIM_TIMERINDEX_TIMER_B, &pTimeBaseCfg) != HAL_OK)
  {
    Error_Handler();
  }
  if (HAL_HRTIM_WaveformTimerControl(&hhrtim1, HRTIM_TIMERINDEX_TIMER_B, &pTimerCtl) != HAL_OK)
  {
    Error_Handler();
  }
  if (HAL_HRTIM_WaveformCompareConfig(&hhrtim1, HRTIM_TIMERINDEX_TIMER_B, HRTIM_COMPAREUNIT_1, &pCompareCfg) != HAL_OK)
  {
    Error_Handler();
  }
  if (HAL_HRTIM_TimeBaseConfig(&hhrtim1, HRTIM_TIMERINDEX_TIMER_C, &pTimeBaseCfg) != HAL_OK)
  {
    Error_Handler();
  }
  if (HAL_HRTIM_WaveformTimerControl(&hhrtim1, HRTIM_TIMERINDEX_TIMER_C, &pTimerCtl) != HAL_OK)
  {
    Error_Handler();
  }
  if (HAL_HRTIM_WaveformCompareConfig(&hhrtim1, HRTIM_TIMERINDEX_TIMER_C, HRTIM_COMPAREUNIT_1, &pCompareCfg) != HAL_OK)
  {
    Error_Handler();
  }
  if (HAL_HRTIM_TimeBaseConfig(&hhrtim1, HRTIM_TIMERINDEX_TIMER_E, &pTimeBaseCfg) != HAL_OK)
  {
    Error_Handler();
  }
  if (HAL_HRTIM_WaveformTimerControl(&hhrtim1, HRTIM_TIMERINDEX_TIMER_E, &pTimerCtl) != HAL_OK)
  {
    Error_Handler();
  }
  pCompareCfg.CompareValue = 0xFFDF;
  if (HAL_HRTIM_WaveformCompareConfig(&hhrtim1, HRTIM_TIMERINDEX_TIMER_E, HRTIM_COMPAREUNIT_1, &pCompareCfg) != HAL_OK)
  {
    Error_Handler();
  }
  HAL_HRTIM_MspPostInit(&hhrtim1);

}

static void MX_TIM1_Init(void)
{

  TIM_ClockConfigTypeDef sClockSourceConfig = {0};
  TIM_SlaveConfigTypeDef sSlaveConfig = {0};
  TIM_IC_InitTypeDef sConfigIC = {0};
  TIM_MasterConfigTypeDef sMasterConfig = {0};

  htim1.Instance = TIM1;
  htim1.Init.Prescaler = 0;
  htim1.Init.CounterMode = TIM_COUNTERMODE_UP;
  htim1.Init.Period = 65535;
  htim1.Init.ClockDivision = TIM_CLOCKDIVISION_DIV1;
  htim1.Init.RepetitionCounter = 0;
  htim1.Init.AutoReloadPreload = TIM_AUTORELOAD_PRELOAD_ENABLE;
  if (HAL_TIM_Base_Init(&htim1) != HAL_OK)
  {
    Error_Handler();
  }
  sClockSourceConfig.ClockSource = TIM_CLOCKSOURCE_INTERNAL;
  if (HAL_TIM_ConfigClockSource(&htim1, &sClockSourceConfig) != HAL_OK)
  {
    Error_Handler();
  }
  if (HAL_TIM_IC_Init(&htim1) != HAL_OK)
  {
    Error_Handler();
  }
  sSlaveConfig.SlaveMode = TIM_SLAVEMODE_RESET;
  sSlaveConfig.InputTrigger = TIM_TS_TI1FP1;
  sSlaveConfig.TriggerPolarity = TIM_INPUTCHANNELPOLARITY_RISING;
  sSlaveConfig.TriggerPrescaler = TIM_ICPSC_DIV1;
  sSlaveConfig.TriggerFilter = 0;
  if (HAL_TIM_SlaveConfigSynchro(&htim1, &sSlaveConfig) != HAL_OK)
  {
    Error_Handler();
  }
  sConfigIC.ICPolarity = TIM_INPUTCHANNELPOLARITY_RISING;
  sConfigIC.ICSelection = TIM_ICSELECTION_DIRECTTI;
  sConfigIC.ICPrescaler = TIM_ICPSC_DIV1;
  sConfigIC.ICFilter = 0;
  if (HAL_TIM_IC_ConfigChannel(&htim1, &sConfigIC, TIM_CHANNEL_1) != HAL_OK)
  {
    Error_Handler();
  }
  sConfigIC.ICPolarity = TIM_INPUTCHANNELPOLARITY_FALLING;
  sConfigIC.ICSelection = TIM_ICSELECTION_INDIRECTTI;
  if (HAL_TIM_IC_ConfigChannel(&htim1, &sConfigIC, TIM_CHANNEL_2) != HAL_OK)
  {
    Error_Handler();
  }
  sMasterConfig.MasterOutputTrigger = TIM_TRGO_RESET;
  sMasterConfig.MasterOutputTrigger2 = TIM_TRGO2_RESET;
  sMasterConfig.MasterSlaveMode = TIM_MASTERSLAVEMODE_DISABLE;
  if (HAL_TIMEx_MasterConfigSynchronization(&htim1, &sMasterConfig) != HAL_OK)
  {
    Error_Handler();
  }

}

static void MX_TIM2_Init(void)
{

  TIM_ClockConfigTypeDef sClockSourceConfig = {0};
  TIM_SlaveConfigTypeDef sSlaveConfig = {0};
  TIM_IC_InitTypeDef sConfigIC = {0};
  TIM_MasterConfigTypeDef sMasterConfig = {0};

  htim2.Instance = TIM2;
  htim2.Init.Prescaler = 0;
  htim2.Init.CounterMode = TIM_COUNTERMODE_UP;
  htim2.Init.Period = 4294967295;
  htim2.Init.ClockDivision = TIM_CLOCKDIVISION_DIV1;
  htim2.Init.AutoReloadPreload = TIM_AUTORELOAD_PRELOAD_ENABLE;
  if (HAL_TIM_Base_Init(&htim2) != HAL_OK)
  {
    Error_Handler();
  }
  sClockSourceConfig.ClockSource = TIM_CLOCKSOURCE_INTERNAL;
  if (HAL_TIM_ConfigClockSource(&htim2, &sClockSourceConfig) != HAL_OK)
  {
    Error_Handler();
  }
  if (HAL_TIM_IC_Init(&htim2) != HAL_OK)
  {
    Error_Handler();
  }
  sSlaveConfig.SlaveMode = TIM_SLAVEMODE_RESET;
  sSlaveConfig.InputTrigger = TIM_TS_TI1FP1;
  sSlaveConfig.TriggerPolarity = TIM_INPUTCHANNELPOLARITY_RISING;
  sSlaveConfig.TriggerPrescaler = TIM_ICPSC_DIV1;
  sSlaveConfig.TriggerFilter = 0;
  if (HAL_TIM_SlaveConfigSynchro(&htim2, &sSlaveConfig) != HAL_OK)
  {
    Error_Handler();
  }
  sConfigIC.ICPolarity = TIM_INPUTCHANNELPOLARITY_RISING;
  sConfigIC.ICSelection = TIM_ICSELECTION_DIRECTTI;
  sConfigIC.ICPrescaler = TIM_ICPSC_DIV1;
  sConfigIC.ICFilter = 0;
  if (HAL_TIM_IC_ConfigChannel(&htim2, &sConfigIC, TIM_CHANNEL_1) != HAL_OK)
  {
    Error_Handler();
  }
  sConfigIC.ICPolarity = TIM_INPUTCHANNELPOLARITY_FALLING;
  sConfigIC.ICSelection = TIM_ICSELECTION_INDIRECTTI;
  if (HAL_TIM_IC_ConfigChannel(&htim2, &sConfigIC, TIM_CHANNEL_2) != HAL_OK)
  {
    Error_Handler();
  }
  sMasterConfig.MasterOutputTrigger = TIM_TRGO_RESET;
  sMasterConfig.MasterSlaveMode = TIM_MASTERSLAVEMODE_DISABLE;
  if (HAL_TIMEx_MasterConfigSynchronization(&htim2, &sMasterConfig) != HAL_OK)
  {
    Error_Handler();
  }

}

static void MX_TIM3_Init(void)
{

  TIM_ClockConfigTypeDef sClockSourceConfig = {0};
  TIM_SlaveConfigTypeDef sSlaveConfig = {0};
  TIM_IC_InitTypeDef sConfigIC = {0};
  TIM_MasterConfigTypeDef sMasterConfig = {0};

  htim3.Instance = TIM3;
  htim3.Init.Prescaler = 0;
  htim3.Init.CounterMode = TIM_COUNTERMODE_UP;
  htim3.Init.Period = 65535;
  htim3.Init.ClockDivision = TIM_CLOCKDIVISION_DIV1;
  htim3.Init.AutoReloadPreload = TIM_AUTORELOAD_PRELOAD_ENABLE;
  if (HAL_TIM_Base_Init(&htim3) != HAL_OK)
  {
    Error_Handler();
  }
  sClockSourceConfig.ClockSource = TIM_CLOCKSOURCE_INTERNAL;
  if (HAL_TIM_ConfigClockSource(&htim3, &sClockSourceConfig) != HAL_OK)
  {
    Error_Handler();
  }
  if (HAL_TIM_IC_Init(&htim3) != HAL_OK)
  {
    Error_Handler();
  }
  sSlaveConfig.SlaveMode = TIM_SLAVEMODE_RESET;
  sSlaveConfig.InputTrigger = TIM_TS_TI1FP1;
  sSlaveConfig.TriggerPolarity = TIM_INPUTCHANNELPOLARITY_RISING;
  sSlaveConfig.TriggerPrescaler = TIM_ICPSC_DIV1;
  sSlaveConfig.TriggerFilter = 0;
  if (HAL_TIM_SlaveConfigSynchro(&htim3, &sSlaveConfig) != HAL_OK)
  {
    Error_Handler();
  }
  sConfigIC.ICPolarity = TIM_INPUTCHANNELPOLARITY_RISING;
  sConfigIC.ICSelection = TIM_ICSELECTION_DIRECTTI;
  sConfigIC.ICPrescaler = TIM_ICPSC_DIV1;
  sConfigIC.ICFilter = 0;
  if (HAL_TIM_IC_ConfigChannel(&htim3, &sConfigIC, TIM_CHANNEL_1) != HAL_OK)
  {
    Error_Handler();
  }
  sConfigIC.ICPolarity = TIM_INPUTCHANNELPOLARITY_FALLING;
  sConfigIC.ICSelection = TIM_ICSELECTION_INDIRECTTI;
  if (HAL_TIM_IC_ConfigChannel(&htim3, &sConfigIC, TIM_CHANNEL_2) != HAL_OK)
  {
    Error_Handler();
  }
  sMasterConfig.MasterOutputTrigger = TIM_TRGO_RESET;
  sMasterConfig.MasterSlaveMode = TIM_MASTERSLAVEMODE_DISABLE;
  if (HAL_TIMEx_MasterConfigSynchronization(&htim3, &sMasterConfig) != HAL_OK)
  {
    Error_Handler();
  }

}

static void MX_TIM4_Init(void)
{

  TIM_ClockConfigTypeDef sClockSourceConfig = {0};
  TIM_SlaveConfigTypeDef sSlaveConfig = {0};
  TIM_IC_InitTypeDef sConfigIC = {0};
  TIM_MasterConfigTypeDef sMasterConfig = {0};

  htim4.Instance = TIM4;
  htim4.Init.Prescaler = 0;
  htim4.Init.CounterMode = TIM_COUNTERMODE_UP;
  htim4.Init.Period = 65535;
  htim4.Init.ClockDivision = TIM_CLOCKDIVISION_DIV1;
  htim4.Init.AutoReloadPreload = TIM_AUTORELOAD_PRELOAD_ENABLE;
  if (HAL_TIM_Base_Init(&htim4) != HAL_OK)
  {
    Error_Handler();
  }
  sClockSourceConfig.ClockSource = TIM_CLOCKSOURCE_INTERNAL;
  if (HAL_TIM_ConfigClockSource(&htim4, &sClockSourceConfig) != HAL_OK)
  {
    Error_Handler();
  }
  if (HAL_TIM_IC_Init(&htim4) != HAL_OK)
  {
    Error_Handler();
  }
  sSlaveConfig.SlaveMode = TIM_SLAVEMODE_RESET;
  sSlaveConfig.InputTrigger = TIM_TS_TI1FP1;
  sSlaveConfig.TriggerPolarity = TIM_INPUTCHANNELPOLARITY_RISING;
  sSlaveConfig.TriggerPrescaler = TIM_ICPSC_DIV1;
  sSlaveConfig.TriggerFilter = 0;
  if (HAL_TIM_SlaveConfigSynchro(&htim4, &sSlaveConfig) != HAL_OK)
  {
    Error_Handler();
  }
  sConfigIC.ICPolarity = TIM_INPUTCHANNELPOLARITY_RISING;
  sConfigIC.ICSelection = TIM_ICSELECTION_DIRECTTI;
  sConfigIC.ICPrescaler = TIM_ICPSC_DIV1;
  sConfigIC.ICFilter = 0;
  if (HAL_TIM_IC_ConfigChannel(&htim4, &sConfigIC, TIM_CHANNEL_1) != HAL_OK)
  {
    Error_Handler();
  }
  sConfigIC.ICPolarity = TIM_INPUTCHANNELPOLARITY_FALLING;
  sConfigIC.ICSelection = TIM_ICSELECTION_INDIRECTTI;
  if (HAL_TIM_IC_ConfigChannel(&htim4, &sConfigIC, TIM_CHANNEL_2) != HAL_OK)
  {
    Error_Handler();
  }
  sMasterConfig.MasterOutputTrigger = TIM_TRGO_RESET;
  sMasterConfig.MasterSlaveMode = TIM_MASTERSLAVEMODE_DISABLE;
  if (HAL_TIMEx_MasterConfigSynchronization(&htim4, &sMasterConfig) != HAL_OK)
  {
    Error_Handler();
  }

}

static void MX_TIM5_Init(void)
{

  TIM_ClockConfigTypeDef sClockSourceConfig = {0};
  TIM_SlaveConfigTypeDef sSlaveConfig = {0};
  TIM_IC_InitTypeDef sConfigIC = {0};
  TIM_MasterConfigTypeDef sMasterConfig = {0};

  htim5.Instance = TIM5;
  htim5.Init.Prescaler = 0;
  htim5.Init.CounterMode = TIM_COUNTERMODE_UP;
  htim5.Init.Period = 4294967295;
  htim5.Init.ClockDivision = TIM_CLOCKDIVISION_DIV1;
  htim5.Init.AutoReloadPreload = TIM_AUTORELOAD_PRELOAD_ENABLE;
  if (HAL_TIM_Base_Init(&htim5) != HAL_OK)
  {
    Error_Handler();
  }
  sClockSourceConfig.ClockSource = TIM_CLOCKSOURCE_INTERNAL;
  if (HAL_TIM_ConfigClockSource(&htim5, &sClockSourceConfig) != HAL_OK)
  {
    Error_Handler();
  }
  if (HAL_TIM_IC_Init(&htim5) != HAL_OK)
  {
    Error_Handler();
  }
  sSlaveConfig.SlaveMode = TIM_SLAVEMODE_RESET;
  sSlaveConfig.InputTrigger = TIM_TS_TI1FP1;
  sSlaveConfig.TriggerPolarity = TIM_INPUTCHANNELPOLARITY_RISING;
  sSlaveConfig.TriggerPrescaler = TIM_ICPSC_DIV1;
  sSlaveConfig.TriggerFilter = 0;
  if (HAL_TIM_SlaveConfigSynchro(&htim5, &sSlaveConfig) != HAL_OK)
  {
    Error_Handler();
  }
  sConfigIC.ICPolarity = TIM_INPUTCHANNELPOLARITY_RISING;
  sConfigIC.ICSelection = TIM_ICSELECTION_DIRECTTI;
  sConfigIC.ICPrescaler = TIM_ICPSC_DIV1;
  sConfigIC.ICFilter = 0;
  if (HAL_TIM_IC_ConfigChannel(&htim5, &sConfigIC, TIM_CHANNEL_1) != HAL_OK)
  {
    Error_Handler();
  }
  sConfigIC.ICPolarity = TIM_INPUTCHANNELPOLARITY_FALLING;
  sConfigIC.ICSelection = TIM_ICSELECTION_INDIRECTTI;
  if (HAL_TIM_IC_ConfigChannel(&htim5, &sConfigIC, TIM_CHANNEL_2) != HAL_OK)
  {
    Error_Handler();
  }
  sMasterConfig.MasterOutputTrigger = TIM_TRGO_RESET;
  sMasterConfig.MasterSlaveMode = TIM_MASTERSLAVEMODE_DISABLE;
  if (HAL_TIMEx_MasterConfigSynchronization(&htim5, &sMasterConfig) != HAL_OK)
  {
    Error_Handler();
  }

}

static void MX_TIM8_Init(void)
{

  TIM_ClockConfigTypeDef sClockSourceConfig = {0};
  TIM_SlaveConfigTypeDef sSlaveConfig = {0};
  TIM_IC_InitTypeDef sConfigIC = {0};
  TIM_MasterConfigTypeDef sMasterConfig = {0};

  htim8.Instance = TIM8;
  htim8.Init.Prescaler = 0;
  htim8.Init.CounterMode = TIM_COUNTERMODE_UP;
  htim8.Init.Period = 65535;
  htim8.Init.ClockDivision = TIM_CLOCKDIVISION_DIV1;
  htim8.Init.RepetitionCounter = 0;
  htim8.Init.AutoReloadPreload = TIM_AUTORELOAD_PRELOAD_ENABLE;
  if (HAL_TIM_Base_Init(&htim8) != HAL_OK)
  {
    Error_Handler();
  }
  sClockSourceConfig.ClockSource = TIM_CLOCKSOURCE_INTERNAL;
  if (HAL_TIM_ConfigClockSource(&htim8, &sClockSourceConfig) != HAL_OK)
  {
    Error_Handler();
  }
  if (HAL_TIM_IC_Init(&htim8) != HAL_OK)
  {
    Error_Handler();
  }
  sSlaveConfig.SlaveMode = TIM_SLAVEMODE_RESET;
  sSlaveConfig.InputTrigger = TIM_TS_TI1FP1;
  sSlaveConfig.TriggerPolarity = TIM_INPUTCHANNELPOLARITY_RISING;
  sSlaveConfig.TriggerPrescaler = TIM_ICPSC_DIV1;
  sSlaveConfig.TriggerFilter = 0;
  if (HAL_TIM_SlaveConfigSynchro(&htim8, &sSlaveConfig) != HAL_OK)
  {
    Error_Handler();
  }
  sConfigIC.ICPolarity = TIM_INPUTCHANNELPOLARITY_RISING;
  sConfigIC.ICSelection = TIM_ICSELECTION_DIRECTTI;
  sConfigIC.ICPrescaler = TIM_ICPSC_DIV1;
  sConfigIC.ICFilter = 0;
  if (HAL_TIM_IC_ConfigChannel(&htim8, &sConfigIC, TIM_CHANNEL_1) != HAL_OK)
  {
    Error_Handler();
  }
  sConfigIC.ICPolarity = TIM_INPUTCHANNELPOLARITY_FALLING;
  sConfigIC.ICSelection = TIM_ICSELECTION_INDIRECTTI;
  if (HAL_TIM_IC_ConfigChannel(&htim8, &sConfigIC, TIM_CHANNEL_2) != HAL_OK)
  {
    Error_Handler();
  }
  sMasterConfig.MasterOutputTrigger = TIM_TRGO_RESET;
  sMasterConfig.MasterOutputTrigger2 = TIM_TRGO2_RESET;
  sMasterConfig.MasterSlaveMode = TIM_MASTERSLAVEMODE_DISABLE;
  if (HAL_TIMEx_MasterConfigSynchronization(&htim8, &sMasterConfig) != HAL_OK)
  {
    Error_Handler();
  }

}

static void MX_TIM15_Init(void)
{

  TIM_ClockConfigTypeDef sClockSourceConfig = {0};
  TIM_SlaveConfigTypeDef sSlaveConfig = {0};
  TIM_IC_InitTypeDef sConfigIC = {0};
  TIM_MasterConfigTypeDef sMasterConfig = {0};

  htim15.Instance = TIM15;
  htim15.Init.Prescaler = 0;
  htim15.Init.CounterMode = TIM_COUNTERMODE_UP;
  htim15.Init.Period = 65535;
  htim15.Init.ClockDivision = TIM_CLOCKDIVISION_DIV1;
  htim15.Init.RepetitionCounter = 0;
  htim15.Init.AutoReloadPreload = TIM_AUTORELOAD_PRELOAD_ENABLE;
  if (HAL_TIM_Base_Init(&htim15) != HAL_OK)
  {
    Error_Handler();
  }
  sClockSourceConfig.ClockSource = TIM_CLOCKSOURCE_INTERNAL;
  if (HAL_TIM_ConfigClockSource(&htim15, &sClockSourceConfig) != HAL_OK)
  {
    Error_Handler();
  }
  if (HAL_TIM_IC_Init(&htim15) != HAL_OK)
  {
    Error_Handler();
  }
  sSlaveConfig.SlaveMode = TIM_SLAVEMODE_RESET;
  sSlaveConfig.InputTrigger = TIM_TS_TI1FP1;
  sSlaveConfig.TriggerPolarity = TIM_INPUTCHANNELPOLARITY_RISING;
  sSlaveConfig.TriggerPrescaler = TIM_ICPSC_DIV1;
  sSlaveConfig.TriggerFilter = 0;
  if (HAL_TIM_SlaveConfigSynchro(&htim15, &sSlaveConfig) != HAL_OK)
  {
    Error_Handler();
  }
  sConfigIC.ICPolarity = TIM_INPUTCHANNELPOLARITY_RISING;
  sConfigIC.ICSelection = TIM_ICSELECTION_DIRECTTI;
  sConfigIC.ICPrescaler = TIM_ICPSC_DIV1;
  sConfigIC.ICFilter = 0;
  if (HAL_TIM_IC_ConfigChannel(&htim15, &sConfigIC, TIM_CHANNEL_1) != HAL_OK)
  {
    Error_Handler();
  }
  sConfigIC.ICPolarity = TIM_INPUTCHANNELPOLARITY_FALLING;
  sConfigIC.ICSelection = TIM_ICSELECTION_INDIRECTTI;
  if (HAL_TIM_IC_ConfigChannel(&htim15, &sConfigIC, TIM_CHANNEL_2) != HAL_OK)
  {
    Error_Handler();
  }
  sMasterConfig.MasterOutputTrigger = TIM_TRGO_RESET;
  sMasterConfig.MasterSlaveMode = TIM_MASTERSLAVEMODE_DISABLE;
  if (HAL_TIMEx_MasterConfigSynchronization(&htim15, &sMasterConfig) != HAL_OK)
  {
    Error_Handler();
  }

}

static void MX_TIM20_Init(void)
{

  TIM_ClockConfigTypeDef sClockSourceConfig = {0};
  TIM_SlaveConfigTypeDef sSlaveConfig = {0};
  TIM_IC_InitTypeDef sConfigIC = {0};
  TIM_MasterConfigTypeDef sMasterConfig = {0};

  htim20.Instance = TIM20;
  htim20.Init.Prescaler = 0;
  htim20.Init.CounterMode = TIM_COUNTERMODE_UP;
  htim20.Init.Period = 65535;
  htim20.Init.ClockDivision = TIM_CLOCKDIVISION_DIV1;
  htim20.Init.RepetitionCounter = 0;
  htim20.Init.AutoReloadPreload = TIM_AUTORELOAD_PRELOAD_ENABLE;
  if (HAL_TIM_Base_Init(&htim20) != HAL_OK)
  {
    Error_Handler();
  }
  sClockSourceConfig.ClockSource = TIM_CLOCKSOURCE_INTERNAL;
  if (HAL_TIM_ConfigClockSource(&htim20, &sClockSourceConfig) != HAL_OK)
  {
    Error_Handler();
  }
  if (HAL_TIM_IC_Init(&htim20) != HAL_OK)
  {
    Error_Handler();
  }
  sSlaveConfig.SlaveMode = TIM_SLAVEMODE_RESET;
  sSlaveConfig.InputTrigger = TIM_TS_TI1FP1;
  sSlaveConfig.TriggerPolarity = TIM_INPUTCHANNELPOLARITY_RISING;
  sSlaveConfig.TriggerPrescaler = TIM_ICPSC_DIV1;
  sSlaveConfig.TriggerFilter = 0;
  if (HAL_TIM_SlaveConfigSynchro(&htim20, &sSlaveConfig) != HAL_OK)
  {
    Error_Handler();
  }
  sConfigIC.ICPolarity = TIM_INPUTCHANNELPOLARITY_RISING;
  sConfigIC.ICSelection = TIM_ICSELECTION_DIRECTTI;
  sConfigIC.ICPrescaler = TIM_ICPSC_DIV1;
  sConfigIC.ICFilter = 0;
  if (HAL_TIM_IC_ConfigChannel(&htim20, &sConfigIC, TIM_CHANNEL_1) != HAL_OK)
  {
    Error_Handler();
  }
  sConfigIC.ICPolarity = TIM_INPUTCHANNELPOLARITY_FALLING;
  sConfigIC.ICSelection = TIM_ICSELECTION_INDIRECTTI;
  if (HAL_TIM_IC_ConfigChannel(&htim20, &sConfigIC, TIM_CHANNEL_2) != HAL_OK)
  {
    Error_Handler();
  }
  sMasterConfig.MasterOutputTrigger = TIM_TRGO_RESET;
  sMasterConfig.MasterOutputTrigger2 = TIM_TRGO2_RESET;
  sMasterConfig.MasterSlaveMode = TIM_MASTERSLAVEMODE_DISABLE;
  if (HAL_TIMEx_MasterConfigSynchronization(&htim20, &sMasterConfig) != HAL_OK)
  {
    Error_Handler();
  }

}

static void MX_USART2_UART_Init(void)
{

  huart2.Instance = USART2;
  huart2.Init.BaudRate = 115200;
  huart2.Init.WordLength = UART_WORDLENGTH_8B;
  huart2.Init.StopBits = UART_STOPBITS_1;
  huart2.Init.Parity = UART_PARITY_NONE;
  huart2.Init.Mode = UART_MODE_TX_RX;
  huart2.Init.HwFlowCtl = UART_HWCONTROL_NONE;
  huart2.Init.OverSampling = UART_OVERSAMPLING_16;
  huart2.Init.OneBitSampling = UART_ONE_BIT_SAMPLE_DISABLE;
  huart2.Init.ClockPrescaler = UART_PRESCALER_DIV1;
  huart2.AdvancedInit.AdvFeatureInit = UART_ADVFEATURE_NO_INIT;
  if (HAL_UART_Init(&huart2) != HAL_OK)
  {
    Error_Handler();
  }
  if (HAL_UARTEx_SetTxFifoThreshold(&huart2, UART_TXFIFO_THRESHOLD_1_8) != HAL_OK)
  {
    Error_Handler();
  }
  if (HAL_UARTEx_SetRxFifoThreshold(&huart2, UART_RXFIFO_THRESHOLD_1_8) != HAL_OK)
  {
    Error_Handler();
  }
  if (HAL_UARTEx_EnableFifoMode(&huart2) != HAL_OK)
  {
    Error_Handler();
  }

}

static void MX_DMA_Init(void)
{

  /* DMA controller clock enable */
  __HAL_RCC_DMAMUX1_CLK_ENABLE();
  __HAL_RCC_DMA1_CLK_ENABLE();
  __HAL_RCC_DMA2_CLK_ENABLE();

  /* DMA interrupt init */
  /* DMA1_Channel1_IRQn interrupt configuration */
  HAL_NVIC_SetPriority(DMA1_Channel1_IRQn, 0, 0);
  HAL_NVIC_EnableIRQ(DMA1_Channel1_IRQn);
  /* DMA1_Channel2_IRQn interrupt configuration */
  HAL_NVIC_SetPriority(DMA1_Channel2_IRQn, 0, 0);
  HAL_NVIC_EnableIRQ(DMA1_Channel2_IRQn);
  /* DMA1_Channel3_IRQn interrupt configuration */
  HAL_NVIC_SetPriority(DMA1_Channel3_IRQn, 0, 0);
  HAL_NVIC_EnableIRQ(DMA1_Channel3_IRQn);
  /* DMA1_Channel4_IRQn interrupt configuration */
  HAL_NVIC_SetPriority(DMA1_Channel4_IRQn, 0, 0);
  HAL_NVIC_EnableIRQ(DMA1_Channel4_IRQn);
  /* DMA2_Channel1_IRQn interrupt configuration */
  HAL_NVIC_SetPriority(DMA2_Channel1_IRQn, 0, 0);
  HAL_NVIC_EnableIRQ(DMA2_Channel1_IRQn);
  /* DMA2_Channel2_IRQn interrupt configuration */
  HAL_NVIC_SetPriority(DMA2_Channel2_IRQn, 0, 0);
  HAL_NVIC_EnableIRQ(DMA2_Channel2_IRQn);
  /* DMA2_Channel5_IRQn interrupt configuration */
  HAL_NVIC_SetPriority(DMA2_Channel5_IRQn, 0, 0);
  HAL_NVIC_EnableIRQ(DMA2_Channel5_IRQn);
  /* DMA2_Channel6_IRQn interrupt configuration */
  HAL_NVIC_SetPriority(DMA2_Channel6_IRQn, 0, 0);
  HAL_NVIC_EnableIRQ(DMA2_Channel6_IRQn);

}

static void MX_GPIO_Init(void)
{
  GPIO_InitTypeDef GPIO_InitStruct = {0};

  /* GPIO Ports Clock Enable */
  __HAL_RCC_GPIOF_CLK_ENABLE();
  __HAL_RCC_GPIOC_CLK_ENABLE();
  __HAL_RCC_GPIOA_CLK_ENABLE();
  __HAL_RCC_GPIOB_CLK_ENABLE();

  /*Configure GPIO pin : CONTROL_INPUT_Pin */
  GPIO_InitStruct.Pin = CONTROL_INPUT_Pin;
  GPIO_InitStruct.Mode = GPIO_MODE_IT_RISING;
  GPIO_InitStruct.Pull = GPIO_NOPULL;
  HAL_GPIO_Init(CONTROL_INPUT_GPIO_Port, &GPIO_InitStruct);

}

void Error_Handler(void)
{
  __disable_irq();
  while (1)
  {
  }
}
